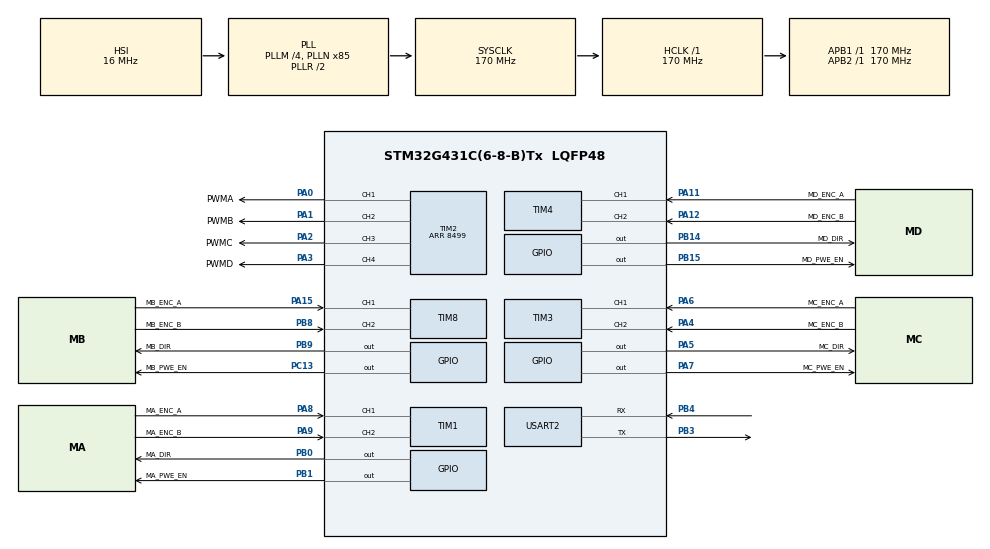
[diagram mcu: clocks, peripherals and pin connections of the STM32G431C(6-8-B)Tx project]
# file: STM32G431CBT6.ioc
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Mcu.Family=STM32G4
Mcu.Name=STM32G431C(6-8-B)Tx
Mcu.Package=LQFP48
NVIC.PriorityGroup=NVIC_PRIORITYGROUP_4
NVIC.TIM6_DAC_IRQn=true\:0\:0\:false\:false\:true\:true\:true\:true
PA0.GPIO_Label=PWMA
PA0.Signal=S_TIM2_CH1
PA1.GPIO_Label=PWMB
PA1.Signal=S_TIM2_CH2
PA11.GPIO_Label=MD_ENC_A
PA11.GPIO_PuPd=GPIO_PULLUP
PA11.GPIO_Speed=GPIO_SPEED_FREQ_HIGH
PA11.Signal=S_TIM4_CH1
PA12.GPIO_Label=MD_ENC_B
PA12.GPIO_PuPd=GPIO_PULLUP
PA12.GPIO_Speed=GPIO_SPEED_FREQ_HIGH
PA12.Signal=S_TIM4_CH2
PA13.Mode=Serial_Wire
PA13.Signal=SYS_JTMS-SWDIO
PA14.Mode=Serial_Wire
PA14.Signal=SYS_JTCK-SWCLK
PA15.GPIO_Label=MB_ENC_A
PA15.GPIO_PuPd=GPIO_PULLUP
PA15.GPIO_Speed=GPIO_SPEED_FREQ_HIGH
PA15.Signal=S_TIM8_CH1
PA2.GPIO_Label=PWMC
PA2.Signal=S_TIM2_CH3
PA3.GPIO_Label=PWMD
PA3.Signal=S_TIM2_CH4
PA4.GPIO_Label=MC_ENC_B
PA4.GPIO_PuPd=GPIO_PULLUP
PA4.GPIO_Speed=GPIO_SPEED_FREQ_HIGH
PA4.Signal=S_TIM3_CH2
PA5.GPIO_Label=MC_DIR
PA5.GPIO_Speed=GPIO_SPEED_FREQ_HIGH
PA5.Signal=GPIO_Output
PA6.GPIO_Label=MC_ENC_A
PA6.GPIO_PuPd=GPIO_PULLUP
PA6.GPIO_Speed=GPIO_SPEED_FREQ_HIGH
PA6.Signal=S_TIM3_CH1
PA7.GPIO_Label=MC_PWE_EN
PA7.Signal=GPIO_Output
PA8.GPIO_Label=MA_ENC_A
PA8.GPIO_PuPd=GPIO_PULLUP
PA8.GPIO_Speed=GPIO_SPEED_FREQ_HIGH
PA8.Signal=S_TIM1_CH1
PA9.GPIO_Label=MA_ENC_B
PA9.GPIO_PuPd=GPIO_PULLUP
PA9.GPIO_Speed=GPIO_SPEED_FREQ_HIGH
PA9.Signal=S_TIM1_CH2
PB0.GPIO_Label=MA_DIR
PB0.GPIO_Speed=GPIO_SPEED_FREQ_HIGH
PB0.Signal=GPIO_Output
PB1.GPIO_Label=MA_PWE_EN
PB1.Signal=GPIO_Output
PB14.GPIO_Label=MD_DIR
PB14.GPIO_Speed=GPIO_SPEED_FREQ_HIGH
PB14.Signal=GPIO_Output
PB15.GPIO_Label=MD_PWE_EN
PB15.Signal=GPIO_Output
PB3.Mode=Asynchronous
PB3.Signal=USART2_TX
PB4.Mode=Asynchronous
PB4.Signal=USART2_RX
PB8-BOOT0.GPIO_Label=MB_ENC_B
PB8-BOOT0.GPIO_PuPd=GPIO_PULLUP
PB8-BOOT0.GPIO_Speed=GPIO_SPEED_FREQ_HIGH
PB8-BOOT0.Signal=S_TIM8_CH2
PB9.GPIO_Label=MB_DIR
PB9.GPIO_Speed=GPIO_SPEED_FREQ_HIGH
PB9.Signal=GPIO_Output
PC13.GPIO_Label=MB_PWE_EN
PC13.Signal=GPIO_Output
ProjectManager.HeapSize=0x200
ProjectManager.StackSize=0x400
ProjectManager.TargetToolchain=CMake
RCC.ADC12Freq_Value=170000000
RCC.AHBFreq_Value=170000000
RCC.APB1Freq_Value=170000000
RCC.APB1TimFreq_Value=170000000
RCC.APB2Freq_Value=170000000
RCC.APB2TimFreq_Value=170000000
RCC.CortexFreq_Value=170000000
RCC.EXTERNAL_CLOCK_VALUE=12288000
RCC.HCLKFreq_Value=170000000
RCC.HSE_VALUE=8000000
RCC.HSI48_VALUE=48000000
RCC.HSI_VALUE=16000000
RCC.LSE_VALUE=32768
RCC.PLLM=RCC_PLLM_DIV4
RCC.PLLN=85
RCC.SYSCLKFreq_VALUE=170000000
RCC.SYSCLKSource=RCC_SYSCLKSOURCE_PLLCLK
RCC.USBFreq_Value=170000000
RCC.VCOOutputFreq_Value=340000000
SH.S_TIM1_CH1.0=TIM1_CH1,Encoder_Interface
SH.S_TIM1_CH2.0=TIM1_CH2,Encoder_Interface
SH.S_TIM2_CH1.0=TIM2_CH1,PWM Generation1 CH1
SH.S_TIM2_CH2.0=TIM2_CH2,PWM Generation2 CH2
SH.S_TIM2_CH3.0=TIM2_CH3,PWM Generation3 CH3
SH.S_TIM2_CH4.0=TIM2_CH4,PWM Generation4 CH4
SH.S_TIM3_CH1.0=TIM3_CH1,Encoder_Interface
SH.S_TIM3_CH2.0=TIM3_CH2,Encoder_Interface
SH.S_TIM4_CH1.0=TIM4_CH1,Encoder_Interface
SH.S_TIM4_CH2.0=TIM4_CH2,Encoder_Interface
SH.S_TIM8_CH1.0=TIM8_CH1,Encoder_Interface
SH.S_TIM8_CH2.0=TIM8_CH2,Encoder_Interface
TIM1.EncoderMode=TIM_ENCODERMODE_TI12
TIM1.IC1Filter=0
TIM2.Channel-PWM\ Generation1\ CH1=TIM_CHANNEL_1
TIM2.Channel-PWM\ Generation2\ CH2=TIM_CHANNEL_2
TIM2.Channel-PWM\ Generation3\ CH3=TIM_CHANNEL_3
TIM2.Channel-PWM\ Generation4\ CH4=TIM_CHANNEL_4
TIM2.PeriodNoDither=8499
TIM3.EncoderMode=TIM_ENCODERMODE_TI12
TIM3.IC1Filter=0
TIM4.EncoderMode=TIM_ENCODERMODE_TI12
TIM6.PeriodNoDither=99
TIM6.Prescaler=16999
TIM8.EncoderMode=TIM_ENCODERMODE_TI12
TIM8.IC1Filter=0
USART2.VirtualMode-Asynchronous=VM_ASYNC
VP_SYS_VS_DBSignals.Mode=DisableDeadBatterySignals
VP_TIM6_VS_ClockSourceINT.Mode=Enable_Timer
board=custom

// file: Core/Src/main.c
/* USER CODE BEGIN Header */
/**
  ******************************************************************************
  * @file           : main.c
  * @brief          : Main program body
  ******************************************************************************
  * @attention
  *
  * Copyright (c) 2026 STMicroelectronics.
  * All rights reserved.
  *
  * This software is licensed under terms that can be found in the LICENSE file
  * in the root directory of this software component.
  * If no LICENSE file comes with this software, it is provided AS-IS.
  *
  ******************************************************************************
  */
/* USER CODE END Header */
#include "main.h"
#include "tim.h"
#include "usart.h"
#include "gpio.h"

/* USER CODE BEGIN Includes */
#include "drv8701.h"
#include "encoder.h"
#include "motor_control.h"
#include "serial.h"

/* USER CODE END Includes */

/* USER CODE BEGIN PD */
#define MOTOR_MAX_SPEED_COUNTS 101
#define MOTOR_TARGET_SPEED_PERCENT 50
#define MOTOR_TARGET_SPEED_COUNTS ((MOTOR_MAX_SPEED_COUNTS * MOTOR_TARGET_SPEED_PERCENT) / 100)
#define MOTOR_PID_KP 0.2f
#define MOTOR_PID_KI 0.3f
#define MOTOR_PID_KD 0.0f
#define MOTOR_DUTY_LIMIT ((DRV8701_DUTY_MAX * 100) / 100)

/* USER CODE END PD */

/* USER CODE BEGIN PV */
static volatile uint8_t motor_plot_ready = 0U;

/* USER CODE END PV */

void SystemClock_Config(void);

int main(void)
{

  /* MCU Configuration--------------------------------------------------------*/

  /* Reset of all peripherals, Initializes the Flash interface and the Systick. */
  HAL_Init();

  /* Configure the system clock */
  SystemClock_Config();

  /* Initialize all configured peripherals */
  MX_GPIO_Init();
  MX_TIM2_Init();
  MX_TIM1_Init();
  MX_TIM3_Init();
  MX_TIM4_Init();
  MX_TIM6_Init();
  MX_TIM8_Init();
  MX_USART2_UART_Init();
  /* USER CODE BEGIN 2 */
  if (MotorControl_Init() != HAL_OK)
  {
    Error_Handler();
  }

  MotorControl_SetPID(MOTOR_CONTROL_A, MOTOR_PID_KP, MOTOR_PID_KI, MOTOR_PID_KD);
  MotorControl_SetPID(MOTOR_CONTROL_B, MOTOR_PID_KP, MOTOR_PID_KI, MOTOR_PID_KD);
  MotorControl_SetPID(MOTOR_CONTROL_C, MOTOR_PID_KP, MOTOR_PID_KI, MOTOR_PID_KD);
  MotorControl_SetPID(MOTOR_CONTROL_D, MOTOR_PID_KP, MOTOR_PID_KI, MOTOR_PID_KD);
  MotorControl_SetDutyLimitAll(MOTOR_DUTY_LIMIT);
  MotorControl_SetTargetAll(MOTOR_TARGET_SPEED_COUNTS,
                            MOTOR_TARGET_SPEED_COUNTS,
                            MOTOR_TARGET_SPEED_COUNTS,
                            MOTOR_TARGET_SPEED_COUNTS);
  MotorControl_EnableAll();

  if (HAL_TIM_Base_Start_IT(&htim6) != HAL_OK)
  {
    Error_Handler();
  }

  /* USER CODE END 2 */

  /* Infinite loop */
  while (1)
  {

    /* USER CODE BEGIN 3 */
    if (motor_plot_ready != 0U)
    {
      int32_t target[4];
      int32_t actual[4];
      int32_t duty[4];

      motor_plot_ready = 0U;
      MotorControl_GetSerialPlotData(target, actual, duty);
      (void)Serial_Printf("d:%ld,%ld,%ld,%ld,%ld,%ld,%ld,%ld,%ld,%ld,%ld,%ld,%lu,%lu,%lu,%lu,%u,%u,%u,%u,%u,%u,%u,%u\r\n",
                          (long)target[0], (long)actual[0], (long)duty[0],
                          (long)target[1], (long)actual[1], (long)duty[1],
                          (long)target[2], (long)actual[2], (long)duty[2],
                          (long)target[3], (long)actual[3], (long)duty[3],
                          (unsigned long)Encoder_GetRawCount(ENCODER_MOTOR_A),
                          (unsigned long)Encoder_GetRawCount(ENCODER_MOTOR_B),
                          (unsigned long)Encoder_GetRawCount(ENCODER_MOTOR_C),
                          (unsigned long)Encoder_GetRawCount(ENCODER_MOTOR_D),
                          (unsigned int)HAL_GPIO_ReadPin(MA_ENC_A_GPIO_Port, MA_ENC_A_Pin),
                          (unsigned int)HAL_GPIO_ReadPin(MA_ENC_B_GPIO_Port, MA_ENC_B_Pin),
                          (unsigned int)HAL_GPIO_ReadPin(MB_ENC_A_GPIO_Port, MB_ENC_A_Pin),
                          (unsigned int)HAL_GPIO_ReadPin(MB_ENC_B_GPIO_Port, MB_ENC_B_Pin),
                          (unsigned int)HAL_GPIO_ReadPin(MC_ENC_A_GPIO_Port, MC_ENC_A_Pin),
                          (unsigned int)HAL_GPIO_ReadPin(MC_ENC_B_GPIO_Port, MC_ENC_B_Pin),
                          (unsigned int)HAL_GPIO_ReadPin(MD_ENC_A_GPIO_Port, MD_ENC_A_Pin),
                          (unsigned int)HAL_GPIO_ReadPin(MD_ENC_B_GPIO_Port, MD_ENC_B_Pin));
    }
  }
  /* USER CODE END 3 */
}

void SystemClock_Config(void)
{
  RCC_OscInitTypeDef RCC_OscInitStruct = {0};
  RCC_ClkInitTypeDef RCC_ClkInitStruct = {0};

  /** Configure the main internal regulator output voltage
  */
  HAL_PWREx_ControlVoltageScaling(PWR_REGULATOR_VOLTAGE_SCALE1_BOOST);

  /** Initializes the RCC Oscillators according to the specified parameters
  * in the RCC_OscInitTypeDef structure.
  */
  RCC_OscInitStruct.OscillatorType = RCC_OSCILLATORTYPE_HSI;
  RCC_OscInitStruct.HSIState = RCC_HSI_ON;
  RCC_OscInitStruct.HSICalibrationValue = RCC_HSICALIBRATION_DEFAULT;
  RCC_OscInitStruct.PLL.PLLState = RCC_PLL_ON;
  RCC_OscInitStruct.PLL.PLLSource = RCC_PLLSOURCE_HSI;
  RCC_OscInitStruct.PLL.PLLM = RCC_PLLM_DIV4;
  RCC_OscInitStruct.PLL.PLLN = 85;
  RCC_OscInitStruct.PLL.PLLP = RCC_PLLP_DIV2;
  RCC_OscInitStruct.PLL.PLLQ = RCC_PLLQ_DIV2;
  RCC_OscInitStruct.PLL.PLLR = RCC_PLLR_DIV2;
  if (HAL_RCC_OscConfig(&RCC_OscInitStruct) != HAL_OK)
  {
    Error_Handler();
  }

  /** Initializes the CPU, AHB and APB buses clocks
  */
  RCC_ClkInitStruct.ClockType = RCC_CLOCKTYPE_HCLK|RCC_CLOCKTYPE_SYSCLK
                              |RCC_CLOCKTYPE_PCLK1|RCC_CLOCKTYPE_PCLK2;
  RCC_ClkInitStruct.SYSCLKSource = RCC_SYSCLKSOURCE_PLLCLK;
  RCC_ClkInitStruct.AHBCLKDivider = RCC_SYSCLK_DIV1;
  RCC_ClkInitStruct.APB1CLKDivider = RCC_HCLK_DIV1;
  RCC_ClkInitStruct.APB2CLKDivider = RCC_HCLK_DIV1;

  if (HAL_RCC_ClockConfig(&RCC_ClkInitStruct, FLASH_LATENCY_4) != HAL_OK)
  {
    Error_Handler();
  }
}

/* USER CODE BEGIN 4 */
void HAL_TIM_PeriodElapsedCallback(TIM_HandleTypeDef *htim)
{
  if (htim->Instance == TIM6)
  {
    MotorControl_Update();
    motor_plot_ready = 1U;
  }
}

/* USER CODE END 4 */

void Error_Handler(void)
{
  __disable_irq();
  while (1)
  {
  }
}
